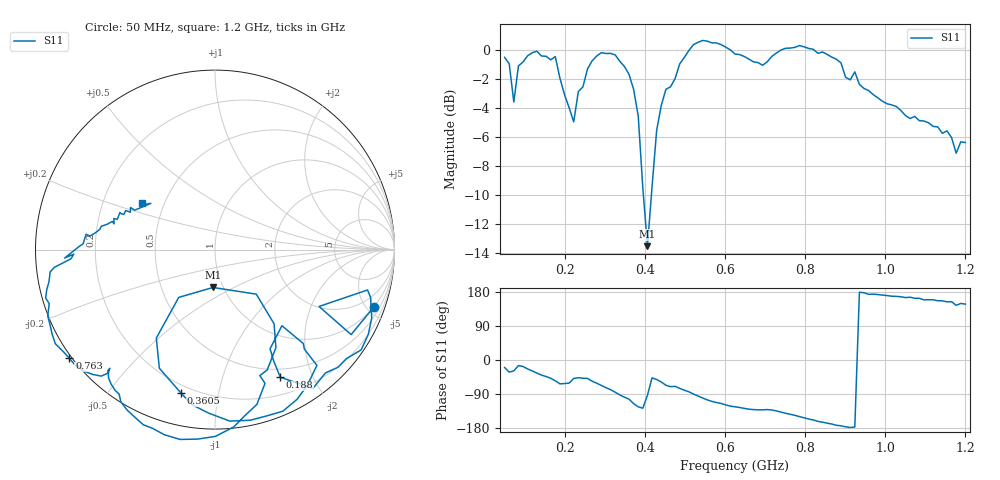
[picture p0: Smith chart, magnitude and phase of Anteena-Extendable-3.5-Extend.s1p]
# HZ S RI R 50
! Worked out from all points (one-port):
!   101 points, 50 MHz to 1.2 GHz, reference 50 ohm
!   lowest |S11| = -13.5 dB at 406.5 MHz (marker M1), VSWR 1.54, Z = 44.8 - j19.8 ohm
!   |S11| at or under -10 dB: 396.4 MHz to 416.3 MHz (19.96 MHz wide, 4.91 % of centre)
!   S11 on the Smith chart (normalised r, x): 50 MHz: 0.99, -5.54; 188 MHz: 0.40, -1.56; 360.5 MHz: 0.16, -0.78; 763 MHz: -0.01, -0.33; 1.2 GHz: 0.38, +0.25
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5e7  0.885 -0.3196
6.15e7  0.7584 -0.4736
7.3e7  0.5798 -0.3168
8.45e7  0.8499 -0.2249
1.305e8  0.8146 -0.5584
1.765e8  0.5456 -0.7733
1.88e8  0.3638 -0.7109
1.995e8  0.3266 -0.6197
2.225e8  0.3729 -0.4241
2.57e8  0.5678 -0.6452
2.915e8  0.3774 -0.9007
3.375e8  -0.0348 -0.9114
3.605e8  -0.1885 -0.8004
3.835e8  -0.327 -0.4928
3.95e8  -0.2019 -0.2662
4.065e8  -0.0113 -0.2109
4.295e8  0.3291 -0.4133
4.525e8  0.2912 -0.67
4.87e8  0.2336 -0.8621
5.445e8  -0.1943 -1.058
6.25e8  -0.5342 -0.8049
7.055e8  -0.5939 -0.6874
7.63e8  -0.8115 -0.6054
7.745e8  -0.8439 -0.5699
8.435e8  -0.9438 -0.2699
9.125e8  -0.7869 -0.0253
1.062e9  -0.562 0.1433
1.2e9  -0.4045 0.2576
